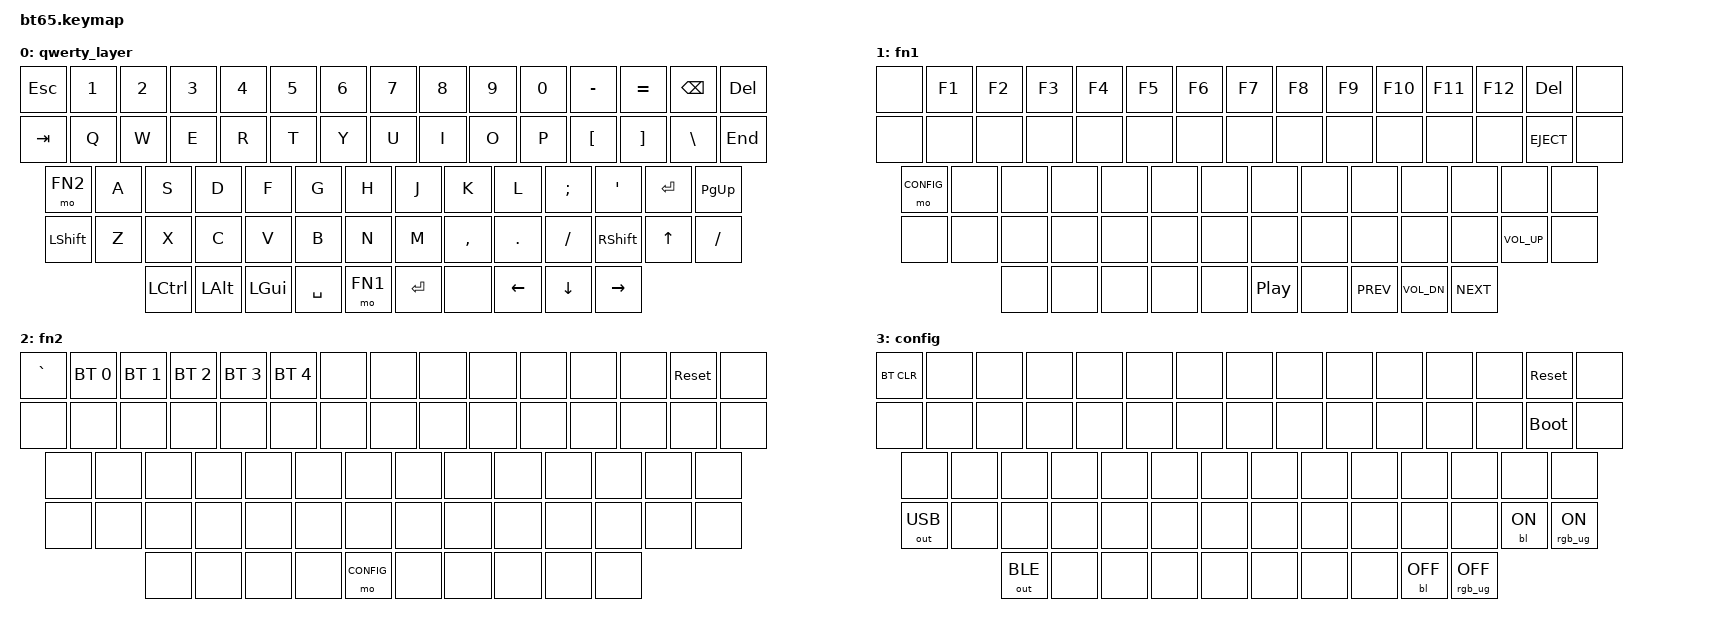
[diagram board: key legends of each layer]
#include <behaviors.dtsi>
#include <dt-bindings/zmk/backlight.h>
#include <dt-bindings/zmk/bt.h>
#include <dt-bindings/zmk/ext_power.h>
#include <dt-bindings/zmk/keys.h>
#include <dt-bindings/zmk/outputs.h>
#include <dt-bindings/zmk/rgb.h>

&kscan0 {
    debounce-press-ms = <3>;
    debounce-release-ms = <3>;
};

#define QWERTY 0
#define FN1 1
#define FN2 2
#define CONFIG 3

/ {
	keymap0: keymap {
		compatible = "zmk,keymap";

		qwerty_layer {
			bindings = <
// ┌──────────┬───────────┬───────────┬───────────┬───────────┬───────────┬───────────┬───────────┬───────────┬───────────┬───────────┬───────────┬───────────┬────────────────────┬─────────┐
     &kp ESC      &kp N1      &kp N2      &kp N3      &kp N4      &kp N5      &kp N6      &kp N7      &kp N8      &kp N9      &kp N0    &kp MINUS   &kp EQUAL        &kp BSPC         &kp DEL
// ├──────────┴───┬───────┴───┬───────┴───┬───────┴───┬───────┴───┬───────┴───┬───────┴───┬───────┴───┬───────┴───┬───────┴───┬───────┴───┬───────┴───┬───────┴───┬────────────────┼─────────┤
       &kp TAB        &kp Q       &kp W       &kp E       &kp R       &kp T       &kp Y       &kp U       &kp I       &kp O       &kp P      &kp LBKT    &kp RBKT      &kp BSLH       &kp END
// ├──────────────┴──┬────────┴───┬───────┴────┬──────┴────┬──────┴────┬──────┴────┬──────┴────┬──────┴────┬──────┴────┬──────┴────┬──────┴────┬──────┴────┬──────┴────────────────┼─────────┤
        &mo FN2           &kp A        &kp S       &kp D       &kp F       &kp G       &kp H       &kp J       &kp K       &kp L      &kp SEMI    &kp SQT           &kp RET          &kp PG_UP
// ├─────────────────┴────┬───────┴────┬───────┴────┬──────┴────┬──────┴────┬──────┴────┬──────┴────┬──────┴────┬──────┴────┬──────┴────┬──────┴────┬──────┴───────────┬───────────┼─────────┤
          &kp LSHFT            &kp Z        &kp X       &kp C       &kp V       &kp B       &kp N       &kp M     &kp COMMA    &kp DOT     &kp FSLH       &kp RSHFT        &kp UP    &kp FSLH
// ├──────────────┬───────┴────────┬───┴────────────┼───────────┴───────────┴───────────┴───────────┴───────────┴┬──────────┴─┬─────────┴──┬────────┴───┬────────────┬─┴──────────┬┴─────────┤
      &kp LCTRL        &kp LALT         &kp LGUI                               &kp SPACE                             &mo FN1      &kp RET       &none      &kp LEFT     &kp DOWN     &kp RIGHT
// └──────────────┴────────────────┴────────────────┴────────────────────────────────────────────────────────────┴────────────┴────────────┴────────────┴────────────┴────────────┴──────────┘
			>;
		};

		fn1 {
			bindings = <
// ┌────────────┬──────────────┬──────────────┬──────────────┬──────────────┬──────────────┬──────────────┬──────────────┬──────────────┬──────────────┬──────────────┬──────────────┬──────────────┬──────────────────────────┬────────────┐
       &none         &kp F1         &kp F2         &kp F3         &kp F4         &kp F5         &kp F6         &kp F7         &kp F8         &kp F9         &kp F10        &kp F11        &kp F12              &kp DEL               &none
// ├────────────┴─────┬────────┴─────┬────────┴─────┬────────┴─────┬────────┴─────┬────────┴─────┬────────┴─────┬────────┴─────┬────────┴─────┬────────┴─────┬────────┴─────┬────────┴─────┬────────┴─────┬────────────────────┼────────────┤
          &none             &none          &none          &none          &none          &none          &none          &none          &none          &none          &none          &none          &none          &kp C_EJECT          &none
// ├──────────────────┴───┬──────────┴────┬─────────┴─────┬────────┴─────┬────────┴─────┬────────┴─────┬────────┴─────┬────────┴─────┬────────┴─────┬────────┴─────┬────────┴─────┬────────┴─────┬────────┴────────────────────┼────────────┤
         &mo CONFIG             &none           &none           &none          &none          &none          &none          &none          &none          &none          &none          &none                 &none                  &none
// ├──────────────────────┴─────┬─────────┴─────┬─────────┴─────┬────────┴─────┬────────┴─────┬────────┴─────┬────────┴─────┬────────┴─────┬────────┴─────┬────────┴─────┬────────┴─────┬────────┴──────────────┬──────────────┼────────────┤
               &none                  &none           &none           &none          &none          &none          &none          &none          &none          &none          &none              &none           &kp C_VOL_UP       &none
// ├─────────────────┬──────────┴────────┬──────┴────────────┬──┴──────────────┴──────────────┴──────────────┴──────────────┴──────────────┴─┬────────────┴───┬──────────┴────┬─────────┴─────┬───────────────┬─┴─────────────┬┴────────────┤
         &none               &none               &none                                             &none                                            &none          &kp C_PP         &none         &kp C_PREV     &kp C_VOL_DN     &kp C_NEXT
// └─────────────────┴───────────────────┴───────────────────┴───────────────────────────────────────────────────────────────────────────────┴────────────────┴───────────────┴───────────────┴───────────────┴───────────────┴─────────────┘
			>;
		};

		fn2 {
			bindings = <
// ┌────────────┬──────────────┬──────────────┬──────────────┬──────────────┬──────────────┬──────────────┬──────────────┬──────────────┬──────────────┬──────────────┬──────────────┬──────────────┬──────────────────────────┬────────────┐
     &kp GRAVE    &bt BT_SEL 0   &bt BT_SEL 1   &bt BT_SEL 2   &bt BT_SEL 3   &bt BT_SEL 4       &none          &none          &none          &none          &none          &none          &none             &sys_reset              &none
// ├────────────┴─────┬────────┴─────┬────────┴─────┬────────┴─────┬────────┴─────┬────────┴─────┬────────┴─────┬────────┴─────┬────────┴─────┬────────┴─────┬────────┴─────┬────────┴─────┬────────┴─────┬────────────────────┼────────────┤
          &none             &none          &none          &none          &none          &none          &none          &none          &none          &none          &none          &none          &none             &none             &none
// ├──────────────────┴───┬──────────┴────┬─────────┴─────┬────────┴─────┬────────┴─────┬────────┴─────┬────────┴─────┬────────┴─────┬────────┴─────┬────────┴─────┬────────┴─────┬────────┴─────┬────────┴────────────────────┼────────────┤
            &none               &none           &none           &none          &none          &none          &none          &none          &none          &none          &none          &none                 &none                  &none
// ├──────────────────────┴─────┬─────────┴─────┬─────────┴─────┬────────┴─────┬────────┴─────┬────────┴─────┬────────┴─────┬────────┴─────┬────────┴─────┬────────┴─────┬────────┴─────┬────────┴──────────────┬──────────────┼────────────┤
               &none                  &none           &none           &none          &none          &none          &none          &none          &none          &none          &none              &none               &none          &none
// ├─────────────────┬──────────┴────────┬──────┴────────────┬──┴──────────────┴──────────────┴──────────────┴──────────────┴──────────────┴─┬────────────┴───┬──────────┴────┬─────────┴─────┬───────────────┬─┴─────────────┬┴────────────┤
         &none               &none               &none                                             &none                                         &mo CONFIG         &none           &none           &none           &none           &none
// └─────────────────┴───────────────────┴───────────────────┴───────────────────────────────────────────────────────────────────────────────┴────────────────┴───────────────┴───────────────┴───────────────┴───────────────┴─────────────┘
			>;
		};

		config {
			bindings = <
// ┌────────────────┬─────────────────┬─────────────────┬─────────────────┬─────────────────┬─────────────────┬─────────────────┬─────────────────┬─────────────────┬─────────────────┬─────────────────┬─────────────────┬─────────────────┬────────────────────────────────┬───────────────┐
      &bt BT_CLR           &none             &none             &none             &none             &none             &none             &none             &none             &none             &none             &none             &none                  &sys_reset                  &none
// ├────────────────┴──────┬──────────┴──────┬──────────┴──────┬──────────┴──────┬──────────┴──────┬──────────┴──────┬──────────┴──────┬──────────┴──────┬──────────┴──────┬──────────┴──────┬──────────┴──────┬──────────┴──────┬──────────┴──────┬─────────────────────────┼───────────────┤
            &none                 &none             &none             &none             &none             &none             &none             &none             &none             &none             &none             &none             &none              &bootloader              &none
// ├───────────────────────┴────┬────────────┴─────┬───────────┴──────┬──────────┴──────┬──────────┴──────┬──────────┴──────┬──────────┴──────┬──────────┴──────┬──────────┴──────┬──────────┴──────┬──────────┴──────┬──────────┴──────┬──────────┴─────────────────────────┼───────────────┤
               &none                    &none              &none             &none             &none             &none             &none             &none             &none             &none             &none             &none                       &none                      &none
// ├────────────────────────────┴──────┬───────────┴──────┬───────────┴──────┬──────────┴──────┬──────────┴──────┬──────────┴──────┬──────────┴──────┬──────────┴──────┬──────────┴──────┬──────────┴──────┬──────────┴──────┬──────────┴──────────────────┬─────────────────┼───────────────┤
               &out OUT_USB                    &none              &none             &none             &none             &none             &none             &none             &none             &none             &none                   &none                 &bl BL_ON       &rgb_ug RGB_ON
// ├─────────────────────┬─────────────┴─────────┬────────┴──────────────┬───┴─────────────────┴─────────────────┴─────────────────┴─────────────────┴─────────────────┴────┬────────────┴──────┬──────────┴───────┬─────────┴────────┬──────────────────┬─┴────────────────┬┴───────────────┤
        &out OUT_BLE               &none                   &none                                                         &none                                                      &none               &none              &none              &none           &bl BL_OFF       &rgb_ug RGB_OFF
// └─────────────────────┴───────────────────────┴───────────────────────┴──────────────────────────────────────────────────────────────────────────────────────────────────┴───────────────────┴──────────────────┴──────────────────┴──────────────────┴──────────────────┴────────────────┘
			>;
		};
	};
};
